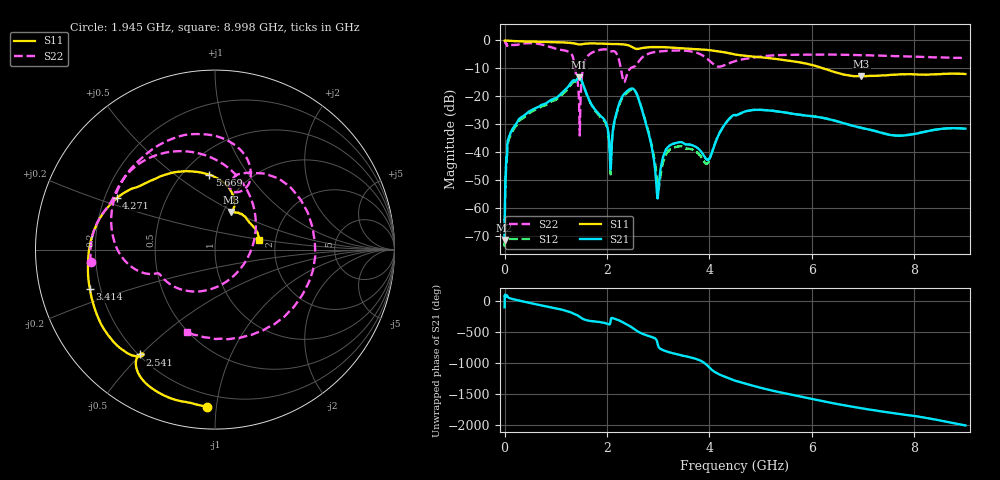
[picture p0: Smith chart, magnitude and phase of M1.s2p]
# Hz S DB R 50
! CMT, C1420, 19038819, 22.4.2/3
! Date: 2023-03-14 09:45:35
! Data: Format (Calibration Info)
! Freq	S11:dB/Ang(F2)	S21:dB/Ang(F2)	S12:dB/Ang(F2)	S22:dB/Ang(F2)
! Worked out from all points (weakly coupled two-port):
!   9001 points, 300 kHz to 9 GHz, reference 50 ohm
!   highest |S21| = -13.24 dB at 1.454 GHz (marker M1); lowest = -71.5 dB at 300 kHz (marker M2)
!   lowest |S11| = -12.8 dB at 6.964 GHz (marker M3), VSWR 1.59, Z = 54.5 + j24.1 ohm
!   |S11| at or under -10 dB: 6.22 GHz to end of sweep
!   |S22| runs from -34.1 to 0.0 dB; largest |S21 - S12| = 0.017
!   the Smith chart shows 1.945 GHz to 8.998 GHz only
!   S11 on the Smith chart (normalised r, x): 1.945 GHz: 0.13, -0.94; 2.541 GHz: 0.20, -0.50; 3.414 GHz: 0.16, -0.15; 4.271 GHz: 0.25, +0.23; 5.669 GHz: 0.67, +0.67; 8.998 GHz: 1.64, +0.18
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300000  -0.04 -0.2  -71.51 -98.4  -72.79 104.0  -0.05 -0.6
9.32969e7  -0.14 -5.4  -34.24 50.9  -35.16 53.4  -1.55 -55.9
3.882871e8  -0.31 -19.4  -26.77 -9.5  -27.47 -7.8  -1.02 -174.0
6.642779e8  -0.42 -32.4  -23.76 -58.2  -24.36 -56.8  -1.23 101.1
9.342689e8  -0.57 -45.3  -21.11 -105.5  -21.75 -104.0  -2.56 17.0
1.217259e9  -0.77 -59.5  -17.11 -158.5  -17.80 -156.3  -3.79 -75.6
1.454252e9  -1.45 -69.8  -13.24 114.7  -13.52 118.4  -22.22 -162.3
1.50025e9  -1.39 -70.2  -14.24 87.5  -14.36 90.4  -15.11 -39.1
1.945235e9  -1.15 -92.9  -28.34 10.2  -28.82 10.4  -3.16 -174.1
2.074231e9  -1.27 -99.6  -45.09 61.1  -46.44 67.4  -3.93 154.5
2.280224e9  -1.35 -111.5  -20.78 31.5  -21.31 33.7  -11.06 35.8
2.541215e9  -2.86 -125.7  -17.87 -96.6  -17.95 -91.1  -9.27 -157.4
3.0002e9  -2.35 -140.8  -54.84 -3.1  -53.10 43.9  -3.94 148.9
3.414186e9  -2.72 -162.4  -36.49 -148.1  -37.93 -143.5  -3.59 111.6
4.271158e9  -4.17 152.5  -30.87 -133.5  -30.85 -131.0  -9.03 76.4
4.50015e9  -5.01 142.1  -26.74 152.7  -26.84 156.8  -7.38 74.5
5.669111e9  -7.55 94.3  -26.42 -87.6  -26.37 -84.5  -5.10 22.5
6.0001e9  -8.78 79.7  -27.17 -142.6  -27.10 -139.5  -5.10 8.6
6.964068e9  -12.83 66.4  -31.33 66.6  -31.32 68.7  -5.28 -30.9
7.50005e9  -12.40 59.4  -33.78 -3.8  -33.70 -2.2  -5.51 -52.3
8.998e9  -12.02 12.2  -31.62 147.5  -31.66 148.9  -6.29 -108.7
9e9  -12.03 12.1  -31.62 147.1  -31.65 148.5  -6.29 -108.8
